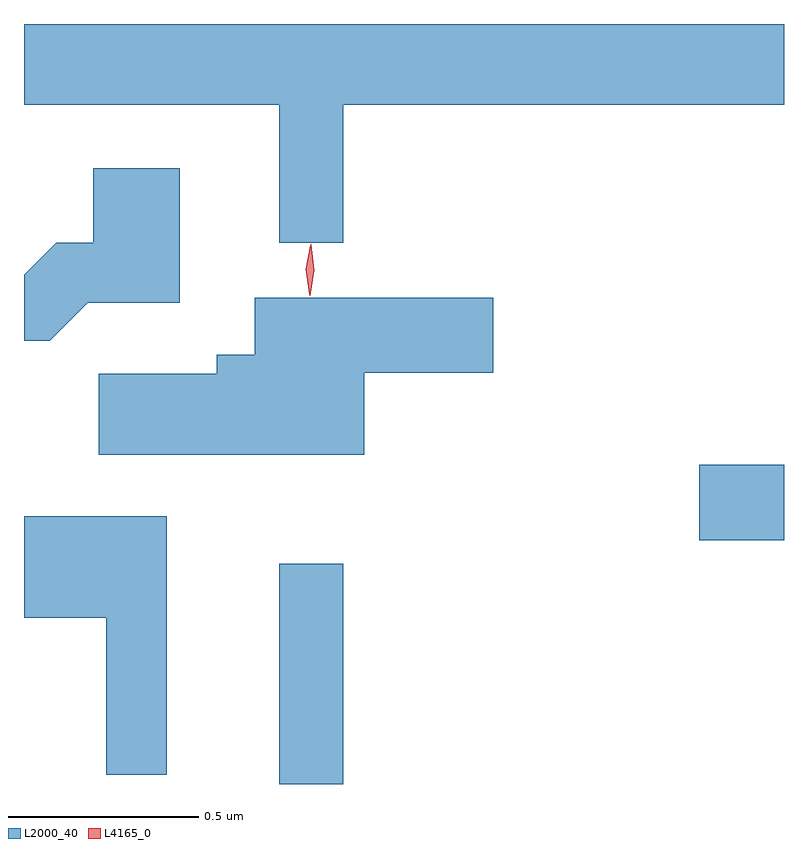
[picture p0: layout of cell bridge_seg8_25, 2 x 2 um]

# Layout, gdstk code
import gdstk
lib = gdstk.Library(unit=1e-6, precision=1e-09)
def R(c, l, rs):  # rectangles x0, y0, x1, y1
    for r in rs: c.add(gdstk.rectangle(r[:2], r[2:], *l))
def P(c, l, *ps):  # polygons
    for p in ps: c.add(gdstk.Polygon(p, *l))
L2000_40 = (2000, 40)
L4165_0 = (4165, 0)

bridge_seg8_25 = lib.new_cell('bridge_seg8_25')
R(bridge_seg8_25, L2000_40, [(1842.901,1874.589,1843.069,1875.168), (1844.006,1875.231,1844.229,1875.429)])
P(bridge_seg8_25, L2000_40, [(1843.069,1876.376),(1844.229,1876.376),(1844.229,1876.589),(1842.229,1876.589),(1842.229,1876.376),(1842.901,1876.376),(1842.901,1876.013),(1843.069,1876.013)],
  [(1842.397,1875.856),(1842.639,1875.856),(1842.639,1876.209),(1842.411,1876.209),(1842.411,1876.014),(1842.314,1876.014),(1842.229,1875.929),(1842.229,1875.756),(1842.297,1875.756)],
  [(1843.124,1875.671),(1843.464,1875.671),(1843.464,1875.869),(1842.836,1875.869),(1842.836,1875.719),(1842.736,1875.719),(1842.736,1875.669),(1842.426,1875.669),(1842.426,1875.456),(1843.124,1875.456)],
  [(1842.604,1875.294),(1842.229,1875.294),(1842.229,1875.026),(1842.446,1875.026),(1842.446,1874.613),(1842.604,1874.613)])
P(bridge_seg8_25, L4165_0, [(1842.981,1875.874),(1842.981,1875.874),(1842.973,1875.942),(1842.984,1876.009),(1842.985,1876.01),(1842.985,1876.009),(1842.993,1875.941),(1842.982,1875.874)],
  [(1842.979,1875.878),(1842.979,1875.879),(1842.971,1875.943),(1842.982,1876.006),(1842.982,1876.006),(1842.982,1876.006),(1842.99,1875.942),(1842.98,1875.879)])

lib.write_gds('bridge_seg8_25.gds')
